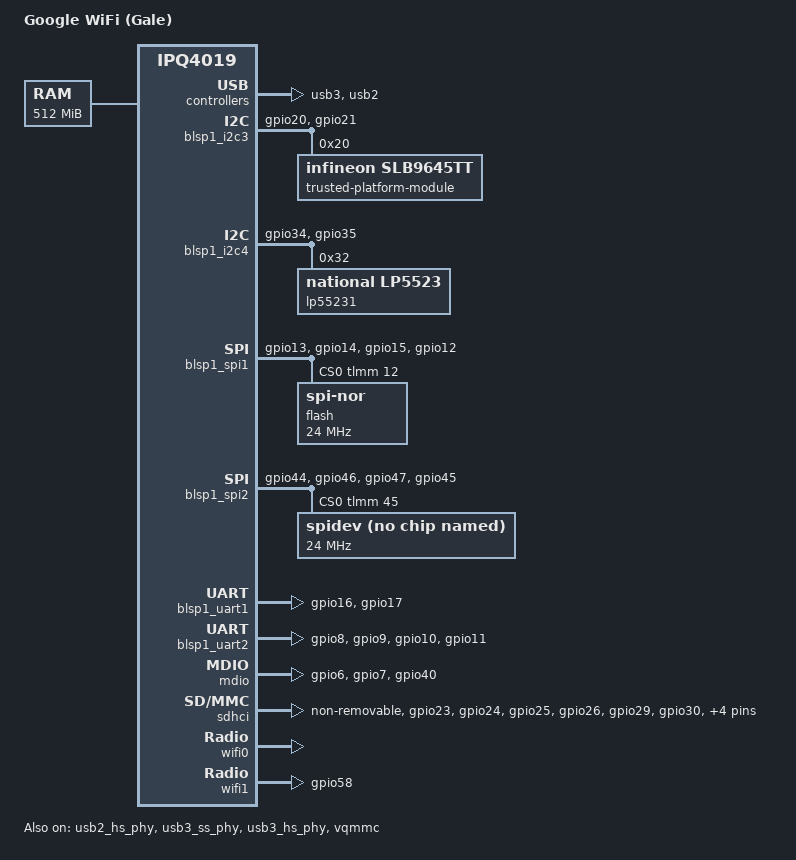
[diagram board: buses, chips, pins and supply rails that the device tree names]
// SPDX-License-Identifier: GPL-2.0
/*
 * Copyright (c) 2016, 2018 The Linux Foundation. All rights reserved.
 * Copyright (c) 2016 Google, Inc
 */

#include "qcom-ipq4019.dtsi"
#include <dt-bindings/input/input.h>
#include <dt-bindings/gpio/gpio.h>

/ {
	model = "Google WiFi (Gale)";
	compatible = "google,wifi", "google,gale-v2", "qcom,ipq4019";

	chosen {
		stdout-path = &blsp1_uart1;
	};

	memory {
		device_type = "memory";
		reg = <0x80000000 0x20000000>; /* 512MB */
	};

	reserved-memory {
		#address-cells = <1>;
		#size-cells = <1>;
		ranges;

		rsvd@87000000 {
			/* Reserved for other subsystem */
			reg = <0x87000000 0x01000000>;
			no-map;
		};
	};

	soc {
		blsp_dma: dma@7884000 {
			status = "okay";
		};

		usb3: usb3@8af8800 {
			status = "okay";
		};

		usb2: usb2@60f8800 {
			status = "okay";
		};

		rng@22000 {
			status = "okay";
		};

		ess-switch@c000000 {
			status = "okay";
		};

		edma@c080000 {
			status = "okay";
		};

		ess-psgmii@98000 {
			status = "okay";
		};

		watchdog@b017000 {
			status = "okay";
		};
	};
};

&tlmm {
	fw_pinmux {
		wp {
			pins = "gpio53";
			output-low;
		};
		recovery {
			pins = "gpio57";
			bias-none;
		};
		developer {
			pins = "gpio41";
			bias-none;
		};
	};

	reset802_15_4 {
		pins = "gpio60";
	};

	led_reset {
		pins = "gpio22";
		output-high;
	};

	sys_reset {
		pins = "gpio19";
		output-high;
	};

	rx_active {
		pins = "gpio43";
		bias-pull,down;
	};

	spi_0_pins: spi_0_pinmux {
		pinmux {
			function = "blsp_spi0";
			pins = "gpio13", "gpio14","gpio15";
		};
		pinmux_cs {
			function = "gpio";
			pins = "gpio12";
		};
		pinconf {
			pins = "gpio13", "gpio14","gpio15";
			drive-strength = <12>;
			bias-disable;
		};
		pinconf_cs {
			pins = "gpio12";
			drive-strength = <2>;
			bias-disable;
			output-high;
		};
	};

	spi_1_pins: spi_1_pinmux {
		pinmux {
			function = "blsp_spi1";
			pins = "gpio44", "gpio46","gpio47";
		};
		pinmux_cs {
			function = "gpio";
			pins = "gpio45";
		};
		pinconf {
			pins = "gpio44", "gpio46","gpio47";
			drive-strength = <12>;
			bias-disable;
		};
		pinconf_cs {
			pins = "gpio45";
			drive-strength = <2>;
			bias-disable;
			output-high;
		};
	};

	serial_0_pins: serial0_pinmux {
		mux {
			pins = "gpio16", "gpio17";
			function = "blsp_uart0";
			bias-disable;
		};
	};

	serial_1_pins: serial1_pinmux {
		mux {
			pins = "gpio8", "gpio9", "gpio10", "gpio11";
			function = "blsp_uart1";
			bias-disable;
		};
	};

	i2c_0_pins: i2c_0_pinmux {
		mux {
			pins = "gpio20", "gpio21";
			function = "blsp_i2c0";
			drive-open-drain;
		};
	};

	i2c_1_pins: i2c_1_pinmux {
		mux {
			pins = "gpio34", "gpio35";
			function = "blsp_i2c1";
			drive-open-drain;
		};
	};

	sd_0_pins: sd_0_pinmux {
		sd0 {
			pins = "gpio23", "gpio24", "gpio25", "gpio26", "gpio29", "gpio30", "gpio31", "gpio32";
			function = "sdio";
			drive-strength = <10>;
			bias-pull-up;
			pull-up-res = <0>;
		};
		sdclk {
			pins = "gpio27";
			function = "sdio";
			drive-strength = <2>;
			bias-pull-up;
			pull-up-res = <0>;
		};
		sdcmd {
			pins = "gpio28";
			function = "sdio";
			drive-strength = <10>;
			bias-pull-up;
			pull-up-res = <0>;
		};
	};

	mdio_pins: mdio_pinmux {
		mux_1 {
			pins = "gpio6";
			function = "mdio";
			bias-disable;
		};
		mux_2 {
			pins = "gpio7";
			function = "mdc";
			bias-disable;
		};
		mux_3 {
			pins = "gpio40";
			function = "gpio";
			bias-disable;
			output-high;
		};
	};

	wifi1_1_pins: wifi2_pinmux {
		mux {
			pins = "gpio58";
			output-low;
		};
	};
};

&blsp1_i2c3 {
	pinctrl-0 = <&i2c_0_pins>;
	pinctrl-names = "default";
	status = "okay";

	trusted-platform-module@20 {
		compatible = "infineon,slb9645tt";
		reg = <0x20>;
		powered-while-suspended;
	};
};

&blsp1_i2c4 {
	pinctrl-0 = <&i2c_1_pins>;
	pinctrl-names = "default";
	status = "okay";

	lp55231@32 {
		compatible = "national,lp5523";
		reg = <0x32>;
		clock-mode = [01];

		chan0 {
			chan-name = "LED0_Red";
			led-cur = [64];
			max-cur = [78];
		};

		chan1 {
			chan-name = "LED0_Green";
			led-cur = [64];
			max-cur = [78];
		};

		chan2 {
			chan-name = "LED0_Blue";
			led-cur = [64];
			max-cur = [78];
		};

		chan3 {
			chan-name = "LED1_Red";
			led-cur = [64];
			max-cur = [78];
		};

		chan4 {
			chan-name = "LED1_Green";
			led-cur = [64];
			max-cur = [78];
		};

		chan5 {
			chan-name = "LED1_Blue";
			led-cur = [64];
			max-cur = [78];
		};

		chan6 {
			chan-name = "LED2_Red";
			led-cur = [64];
			max-cur = [78];
		};

		chan7 {
			chan-name = "LED2_Green";
			led-cur = [64];
			max-cur = [78];
		};

		chan8 {
			chan-name = "LED2_Blue";
			led-cur = [64];
			max-cur = [78];
		};
	};
};

&blsp1_spi1 {
	pinctrl-0 = <&spi_0_pins>;
	pinctrl-names = "default";
	status = "okay";
	cs-gpios = <&tlmm 12 0>;

	flash@0 {
		compatible = "jedec,spi-nor";
		reg = <0>;
		spi-max-frequency = <24000000>;
	};
};

&blsp1_spi2 {
	pinctrl-0 = <&spi_1_pins>;
	pinctrl-names = "default";
	status = "okay";
	cs-gpios = <&tlmm 45 0>;

	spidev@0 {
		compatible = "spidev";
		reg = <0>;
		spi-max-frequency = <24000000>;
	};
};

&blsp1_uart1 {
	pinctrl-0 = <&serial_0_pins>;
	pinctrl-names = "default";
	status = "okay";
};

&blsp1_uart2 {
	pinctrl-0 = <&serial_1_pins>;
	pinctrl-names = "default";
	status = "okay";
};

&gmac0 {
	qcom,phy_mdio_addr = <4>;
	qcom,poll_required = <1>;
	qcom,forced_speed = <1000>;
	qcom,forced_duplex = <1>;
	vlan_tag = <2 0x20>;
};

&gmac1 {
	qcom,phy_mdio_addr = <3>;
	qcom,forced_duplex = <1>;
	vlan_tag = <1 0x10>;
};

&mdio {
	status = "okay";
	pinctrl-0 = <&mdio_pins>;
	pinctrl-names = "default";
};

&sdhci {
	status = "okay";
	pinctrl-0 = <&sd_0_pins>;
	pinctrl-names = "default";
	clock-frequency = <192000000>;
	vqmmc-supply = <&vqmmc>;
	non-removable;
};

&usb2_hs_phy {
	status = "okay";
};

&usb3_ss_phy {
	status = "okay";
};

&usb3_hs_phy {
	status = "okay";
};

&vqmmc {
	status = "okay";
};

&wifi0 {
	status = "okay";
};

&wifi1 {
	status = "okay";
	pinctrl-0 = <&wifi1_1_pins>;
	pinctrl-names = "default";
};
